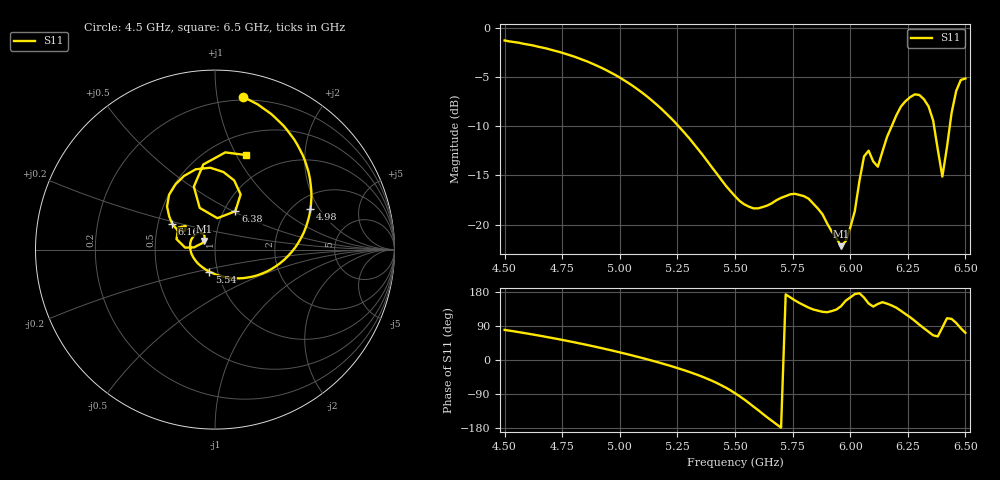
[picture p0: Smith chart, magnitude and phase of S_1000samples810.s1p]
! TOUCHSTONE file generated by CST MICROWAVE STUDIO
! Date and time: Sat Oct 29 11:29:54 2022
! Project name: L.cst
! Parameters = {Di=1.27; Epsilon_r=1.56; InnerDiameter=1.27; Length=2; Lf=10; Lg=60; OuterConductorThickness=0.2921; OuterDiameter=3.6; Wf=3; Wp=41.2; de=1.5; df=6.8; g=0.8; gx=3.16596; gy=3.05691; h=2.34; hf=1.524; px=14.2979; py=11.4811; w=9.7; wx=11.1319; wy=8.4242}
! Header version: 2018
! Port assignment regex: !\s*Touchstone port\s*([0-9]+)\s*=\s*(CST MWS port|CST DS port)\s*([0-9]+|Zmin|Zmax)\s*\(\"(.*)\"\)(\s*mode\s*([0-9]+))?.*
! Touchstone port assignment:
! Touchstone port 1 = CST MWS port 1 ("")
# GHz S DB R 50
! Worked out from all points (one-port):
!   101 points, 4.5 GHz to 6.5 GHz, reference 50 ohm
!   lowest |S11| = -22.2 dB at 5.96 GHz (marker M1), VSWR 1.17, Z = 44.1 + j4.25 ohm
!   |S11| at or under -10 dB: 5.256 GHz to 6.18 GHz (924.2 MHz wide, 16.2 % of centre); 6.364 GHz to 6.432 GHz (68.08 MHz wide, 1.06 % of centre)
!   S11 on the Smith chart (normalised r, x): 4.5 GHz: 0.17, +1.19; 4.98 GHz: 2.46, +1.67; 5.54 GHz: 0.91, -0.23; 6.16 GHz: 0.59, +0.19; 6.38 GHz: 1.13, +0.51; 6.5 GHz: 0.72, +1.10
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4.5  -1.25 79.5
4.76  -2.58 51.8
4.98  -4.76 23.0
5  -5.03 20.1
5.14  -7.38 -1.7
5.26  -10.11 -23.2
5.5  -17.11 -87.6
5.54  -17.93 -104.1
5.68  -17.52 -169.5
5.76  -16.87 157.3
5.86  -18.38 130.1
5.96  -22.20 141.9
6  -20.32 165.0
6.04  -15.57 176.3
6.06  -13.06 164.7
6.08  -12.47 149.0
6.12  -14.11 147.9
6.16  -11.07 148.7
6.22  -7.99 129.9
6.26  -7.03 112.9
6.3  -6.80 93.3
6.34  -7.96 74.5
6.36  -9.40 65.1
6.38  -12.33 62.1
6.4  -15.12 85.6
6.44  -8.64 108.6
6.48  -5.28 83.9
6.5  -5.12 71.8
